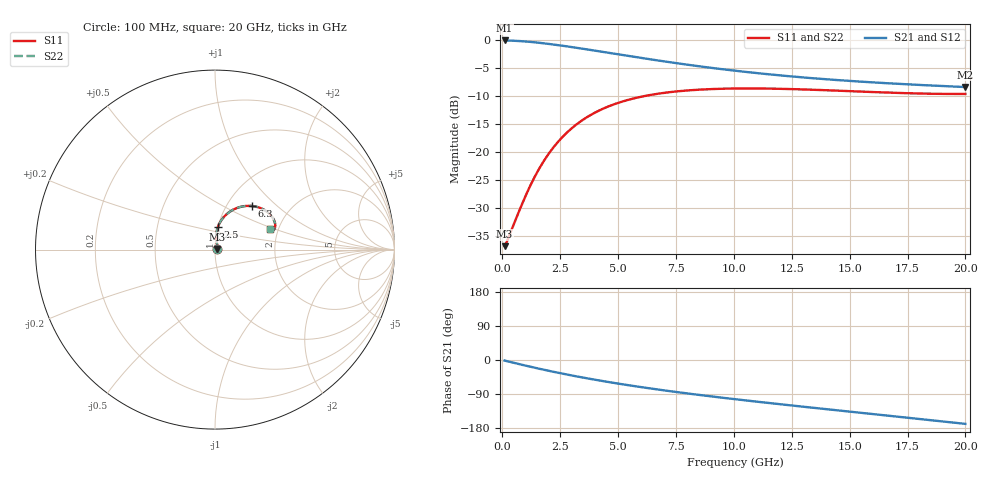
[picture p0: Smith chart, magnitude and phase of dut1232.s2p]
! Touchstone file exported from HFSS 2024.1.0
!  File:  C:/UserFiles/LocalFiles/RDL_TSV_Batchsim/temp_RDL_TSV_1232_1780264746.aedt
!  Generated:  06:13:14 AM Jun  1, 2026
!  Design:  RDL_TSV
!  Project:  temp_RDL_TSV_1232_1780264746
!  Setup:  Setup1
!  Solution:  Sweep
! Variables:
!  dtsv = 7.39um
!  hbump = 3um
!  htsv = 87.86um
!  ldown = 361.24um
!  lrdl = 269.25um
!  p = 40
!  p1 = 53.64um
!  rhole = 10um
!  subl = 2160.72um
!  t = 450um
!  tdown = 3.58um
!  trdl = 4.71um
!  viad = 10um
!  wdown = 13.81um
!  wrdl = 16.51um
!  xbump = 18um
# GHz S MA R 50.000000
! Terminal data exported
! Port[1] = TM1_1_T1
! Port[2] = TM1_4_T1
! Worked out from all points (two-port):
!   200 points, 100 MHz to 20 GHz, reference 50 ohm
!   highest |S21| = -0.12 dB at 100 MHz (marker M1); lowest = -8.4 dB at 20 GHz (marker M2)
!   |S21| within 3 dB of the highest: start of sweep to 5.816 GHz
!   lowest |S11| = -36.9 dB at 100 MHz (marker M3), VSWR 1.03, Z = 51.4 + j0.395 ohm
!   |S11| at or under -10 dB: start of sweep to 6.204 GHz
!   |S22| runs from -36.9 to -8.7 dB; largest |S21 - S12| = 8.5e-15
!   S11 on the Smith chart (normalised r, x): 100 MHz: 1.03, +0.01; 2.5 GHz: 1.00, +0.26; 6.3 GHz: 1.31, +0.71; 20 GHz: 1.80, +0.47
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0.1  0.01436 15.5  0.9859 -1.5  0.9859 -1.5  0.01436 15.5
! Gamma 0 0 0 0
! Port Impedance 50 0 50 0
0.2  0.01583 28.5  0.985 -3.0  0.985 -3.0  0.01583 28.5
0.9  0.03598 73.2  0.969 -13.3  0.969 -13.3  0.03597 73.1
1.4  0.05977 83.2  0.949 -20.4  0.949 -20.4  0.05975 83.2
1.9  0.08944 85.2  0.924 -27.1  0.924 -27.1  0.08941 85.1
2.2  0.1089 84.3  0.9075 -31.0  0.9075 -31.0  0.1089 84.3
2.5  0.1289 82.5  0.8902 -34.8  0.8902 -34.8  0.1288 82.5
3  0.1622 78.6  0.8604 -40.8  0.8604 -40.8  0.1621 78.5
3.5  0.1941 73.9  0.8301 -46.6  0.8301 -46.6  0.194 73.9
4.1  0.229 68.2  0.7941 -53.1  0.7941 -53.1  0.2289 68.2
4.7  0.2596 62.7  0.759 -59.3  0.759 -59.3  0.2594 62.7
5.5  0.2931 55.8  0.7146 -67.0  0.7146 -67.0  0.293 55.8
6.3  0.319 49.6  0.6736 -74.3  0.6736 -74.3  0.3188 49.6
6.8  0.3316 46.1  0.6498 -78.6  0.6498 -78.6  0.3314 46.1
8.4  0.3575 36.7  0.5834 -91.4  0.5834 -91.4  0.3573 36.7
10.1  0.3672 29.2  0.5279 -103.8  0.5279 -103.8  0.367 29.2
11.7  0.3659 24.1  0.4873 -114.7  0.4873 -114.7  0.3657 24.1
13.4  0.358 20.5  0.4538 -125.9  0.4538 -125.9  0.3578 20.5
15  0.3479 18.7  0.4291 -136.2  0.4291 -136.2  0.3477 18.7
16.7  0.3373 18.3  0.4084 -147.2  0.4084 -147.2  0.3371 18.3
18.4  0.33 19.2  0.3916 -158.1  0.3916 -158.1  0.3298 19.2
20  0.3282 20.9  0.3783 -168.5  0.3783 -168.5  0.3281 20.9
